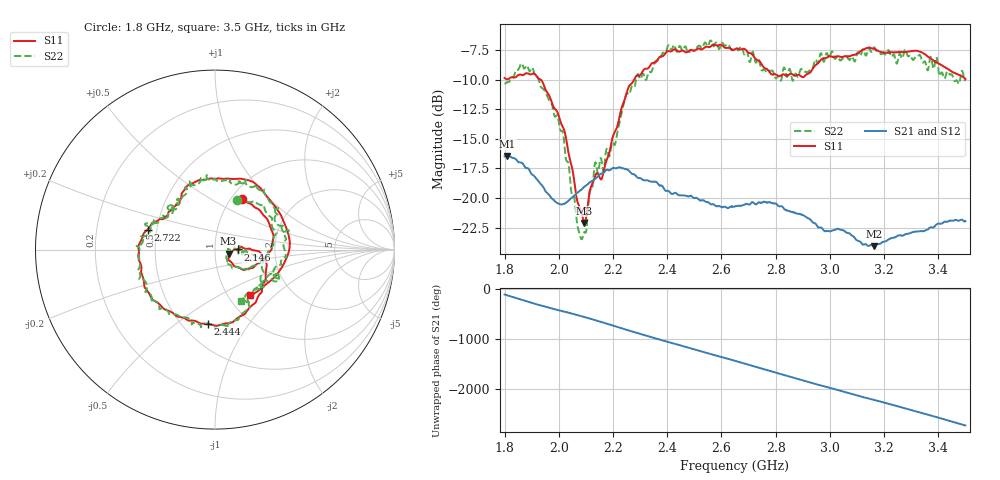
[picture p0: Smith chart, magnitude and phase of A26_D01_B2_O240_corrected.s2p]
! Created with skrf 1.9.0 (http://scikit-rf.org).
# Hz S RI R 50.0
!freq ReS11 ImS11 ReS21 ImS21 ReS12 ImS12 ReS22 ImS22
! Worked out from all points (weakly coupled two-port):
!   1601 points, 1.8 GHz to 3.5 GHz, reference 50 ohm
!   highest |S21| = -16.45 dB at 1.81 GHz (marker M1); lowest = -24.1 dB at 3.163 GHz (marker M2)
!   lowest |S11| = -22.1 dB at 2.094 GHz (marker M3), VSWR 1.17, Z = 58.1 - j2.55 ohm
!   |S11| at or under -10 dB: 1.933 GHz to 2.278 GHz (344.6 MHz wide, 16.4 % of centre)
!   |S22| runs from -23.5 to -6.7 dB; largest |S21 - S12| = 0.0029
!   S11 on the Smith chart (normalised r, x): 1.8 GHz: 1.12, +0.71; 2.146 GHz: 1.29, +0.00; 2.444 GHz: 0.66, -0.66; 2.722 GHz: 0.44, +0.12; 3.5 GHz: 1.25, -0.71
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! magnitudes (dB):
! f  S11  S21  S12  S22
! 1.8 GHz  -9.9  -16.5  -16.5  -10.4
! 1.81 GHz  -10.0  -16.4  -16.5  -10.2
! 1.881 GHz  -9.5  -17.5  -17.5  -8.8
! 1.968 GHz  -11.5  -19.8  -19.9  -11.9
! 2.014 GHz  -14.0  -20.5  -20.5  -14.4
! 2.084 GHz  -21.2  -19.3  -19.2  -23.5
! 2.094 GHz  -22.1  -19.0  -19.1  -22.9
! 2.13 GHz  -18.4  -18.4  -18.4  -17.5
! 2.146 GHz  -18.0  -18.1  -18.1  -17.8
! 2.161 GHz  -18.2  -17.9  -17.8  -17.4
! 2.208 GHz  -14.3  -17.5  -17.5  -15.4
! 2.259 GHz  -10.5  -17.7  -17.7  -11.2
! 2.367 GHz  -8.2  -18.8  -18.8  -8.4
! 2.444 GHz  -7.6  -19.8  -19.8  -7.2
! 2.65 GHz  -7.4  -20.7  -20.7  -7.3
! 2.722 GHz  -8.1  -20.5  -20.4  -8.2
! 2.813 GHz  -9.7  -20.7  -20.6  -9.8
! 2.934 GHz  -9.2  -22.0  -22.0  -9.2
! 3.163 GHz  -7.4  -24.1  -24.0  -7.3
! 3.217 GHz  -7.7  -23.5  -23.5  -7.5
! 3.331 GHz  -7.6  -22.8  -22.8  -7.9
! 3.5 GHz  -9.9  -22.0  -22.0  -9.9
